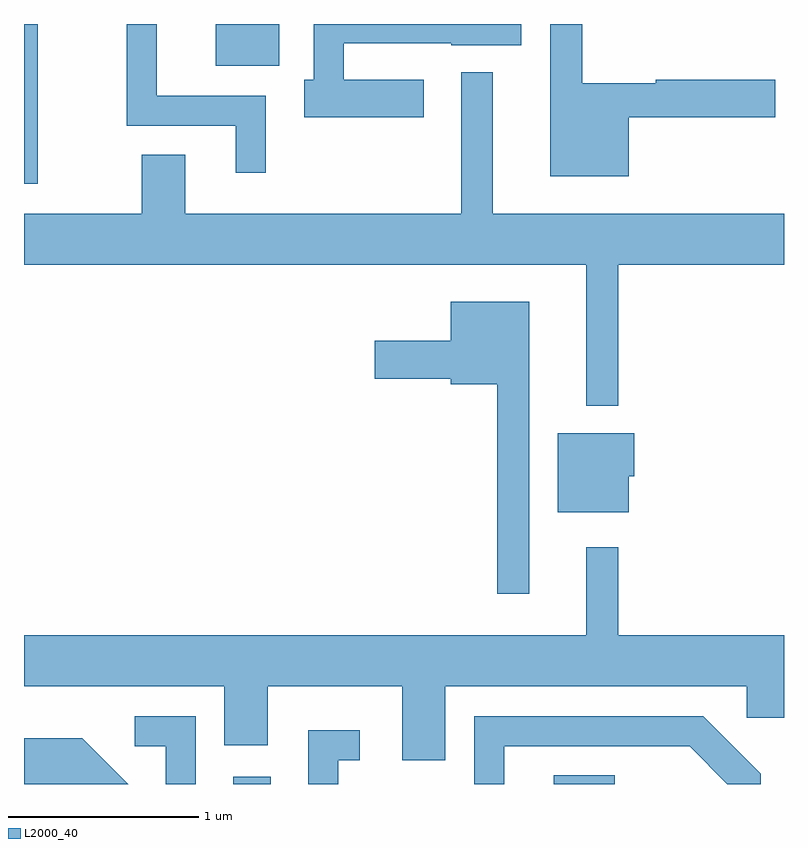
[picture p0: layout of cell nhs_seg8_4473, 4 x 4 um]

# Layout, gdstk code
import gdstk
lib = gdstk.Library(unit=1e-6, precision=1e-09)
def R(c, l, rs):  # rectangles x0, y0, x1, y1
    for r in rs: c.add(gdstk.rectangle(r[:2], r[2:], *l))
def P(c, l, *ps):  # polygons
    for p in ps: c.add(gdstk.Polygon(p, *l))
L2000_40 = (2000, 40)

nhs_seg8_4473 = lib.new_cell('nhs_seg8_4473')
R(nhs_seg8_4473, L2000_40, [(320.711,1840.342,320.909,1840.379), (322.398,1840.342,322.719,1840.389), (319.611,1843.501,319.684,1844.342), (320.621,1844.121,320.954,1844.342)])
P(nhs_seg8_4473, L2000_40, [(322.794,1843.851),(323.564,1843.851),(323.564,1844.049),(322.936,1844.049),(322.936,1844.029),(322.549,1844.029),(322.549,1844.342),(322.381,1844.342),(322.381,1843.541),(322.794,1843.541)],
  [(320.884,1843.964),(320.309,1843.964),(320.309,1844.342),(320.151,1844.342),(320.151,1843.806),(320.726,1843.806),(320.726,1843.558),(320.884,1843.558)],
  [(321.714,1844.049),(321.294,1844.049),(321.294,1844.241),(321.86,1844.241),(321.86,1844.231),(322.229,1844.231),(322.229,1844.342),(321.136,1844.342),(321.136,1844.049),(321.086,1844.049),(321.086,1843.851),(321.714,1843.851)],
  [(322.739,1843.076),(323.611,1843.076),(323.611,1843.344),(322.079,1843.344),(322.079,1844.088),(321.911,1844.088),(321.911,1843.344),(320.459,1843.344),(320.459,1843.654),(320.231,1843.654),(320.231,1843.344),(319.611,1843.344),(319.611,1843.076),(322.571,1843.076),(322.571,1842.333),(322.739,1842.333)],
  [(322.269,1842.879),(321.856,1842.879),(321.856,1842.674),(321.456,1842.674),(321.456,1842.476),(321.856,1842.476),(321.856,1842.446),(322.101,1842.446),(322.101,1841.343),(322.269,1841.343)],
  [(322.794,1841.961),(322.824,1841.961),(322.824,1842.189),(322.421,1842.189),(322.421,1841.771),(322.794,1841.771)],
  [(321.829,1840.856),(323.416,1840.856),(323.416,1840.691),(323.611,1840.691),(323.611,1841.124),(322.739,1841.124),(322.739,1841.588),(322.571,1841.588),(322.571,1841.124),(319.611,1841.124),(319.611,1840.856),(320.666,1840.856),(320.666,1840.546),(320.894,1840.546),(320.894,1840.856),(321.601,1840.856),(321.601,1840.466),(321.829,1840.466)],
  [(322.139,1840.541),(323.114,1840.541),(323.313,1840.342),(323.489,1840.342),(323.489,1840.397),(323.187,1840.699),(321.981,1840.699),(321.981,1840.342),(322.139,1840.342)],
  [(320.514,1840.699),(320.193,1840.699),(320.193,1840.541),(320.356,1840.541),(320.356,1840.342),(320.514,1840.342)],
  [(321.264,1840.466),(321.378,1840.466),(321.378,1840.624),(321.106,1840.624),(321.106,1840.342),(321.264,1840.342)],
  [(319.917,1840.584),(319.611,1840.584),(319.611,1840.342),(320.159,1840.342)])

lib.write_gds('nhs_seg8_4473.gds')
